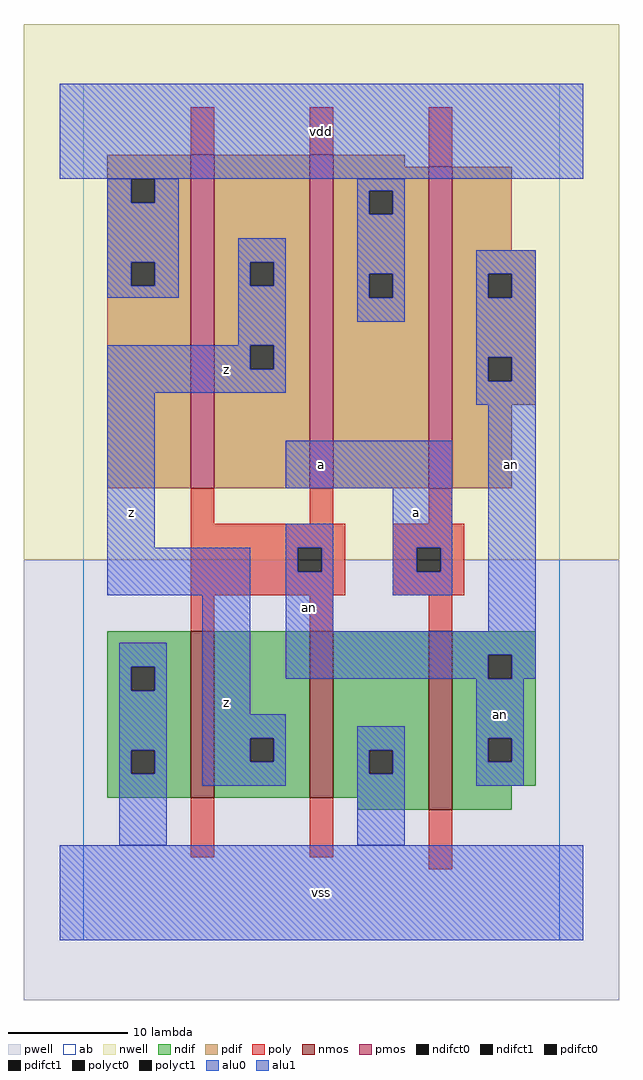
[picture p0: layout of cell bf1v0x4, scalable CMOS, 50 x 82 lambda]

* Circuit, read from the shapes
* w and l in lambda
.subckt bf1v0x4 a an vdd vss z
M1 z an vss VSUBS nfet w=14 l=2 m=2
M2 an a vss VSUBS nfet w=15 l=2
M3 z an vdd n1 pfet w=28 l=2 m=2
M4 an a vdd n1 pfet w=27 l=2
.ends

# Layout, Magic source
magic
tech scmos
<< ab >>
rect 0 0 40 72
<< nwell >>
rect -5 32 45 77
<< pwell >>
rect -5 -5 45 32
<< poly >>
rect 9 66 11 70
rect 19 66 21 70
rect 29 65 31 70
rect 9 35 11 38
rect 19 35 21 38
rect 29 35 31 38
rect 9 33 22 35
rect 9 31 18 33
rect 20 31 22 33
rect 9 29 22 31
rect 26 33 32 35
rect 26 31 28 33
rect 30 31 32 33
rect 26 29 32 31
rect 9 26 11 29
rect 19 26 21 29
rect 29 26 31 29
rect 9 7 11 12
rect 19 7 21 12
rect 29 6 31 11
<< ndif >>
rect 2 23 9 26
rect 2 21 4 23
rect 6 21 9 23
rect 2 16 9 21
rect 2 14 4 16
rect 6 14 9 16
rect 2 12 9 14
rect 11 17 19 26
rect 11 15 14 17
rect 16 15 19 17
rect 11 12 19 15
rect 21 16 29 26
rect 21 14 24 16
rect 26 14 29 16
rect 21 12 29 14
rect 23 11 29 12
rect 31 24 38 26
rect 31 22 34 24
rect 36 22 38 24
rect 31 17 38 22
rect 31 15 34 17
rect 36 15 38 17
rect 31 13 38 15
rect 31 11 36 13
<< pdif >>
rect 2 64 9 66
rect 2 62 4 64
rect 6 62 9 64
rect 2 57 9 62
rect 2 55 4 57
rect 6 55 9 57
rect 2 38 9 55
rect 11 57 19 66
rect 11 55 14 57
rect 16 55 19 57
rect 11 50 19 55
rect 11 48 14 50
rect 16 48 19 50
rect 11 38 19 48
rect 21 65 27 66
rect 21 63 29 65
rect 21 61 24 63
rect 26 61 29 63
rect 21 56 29 61
rect 21 54 24 56
rect 26 54 29 56
rect 21 38 29 54
rect 31 58 36 65
rect 31 56 38 58
rect 31 54 34 56
rect 36 54 38 56
rect 31 49 38 54
rect 31 47 34 49
rect 36 47 38 49
rect 31 45 38 47
rect 31 38 36 45
<< alu1 >>
rect -2 64 42 72
rect 13 57 17 59
rect 13 55 14 57
rect 16 55 17 57
rect 13 50 17 55
rect 2 48 14 50
rect 16 48 17 50
rect 2 46 17 48
rect 2 33 6 46
rect 17 38 31 42
rect 2 29 14 33
rect 10 19 14 29
rect 26 33 31 38
rect 26 31 28 33
rect 30 31 31 33
rect 26 29 31 31
rect 10 17 17 19
rect 10 15 14 17
rect 16 15 17 17
rect 10 13 17 15
rect -2 0 42 8
<< nmos >>
rect 9 12 11 26
rect 19 12 21 26
rect 29 11 31 26
<< pmos >>
rect 9 38 11 66
rect 19 38 21 66
rect 29 38 31 65
<< polyct0 >>
rect 18 31 20 33
<< polyct1 >>
rect 28 31 30 33
<< ndifct0 >>
rect 4 21 6 23
rect 4 14 6 16
rect 24 14 26 16
rect 34 22 36 24
rect 34 15 36 17
<< ndifct1 >>
rect 14 15 16 17
<< pdifct0 >>
rect 4 62 6 64
rect 4 55 6 57
rect 24 61 26 63
rect 24 54 26 56
rect 34 54 36 56
rect 34 47 36 49
<< pdifct1 >>
rect 14 55 16 57
rect 14 48 16 50
<< alu0 >>
rect 2 62 4 64
rect 6 62 8 64
rect 2 57 8 62
rect 23 63 27 64
rect 23 61 24 63
rect 26 61 27 63
rect 2 55 4 57
rect 6 55 8 57
rect 2 54 8 55
rect 23 56 27 61
rect 23 54 24 56
rect 26 54 27 56
rect 23 52 27 54
rect 33 56 38 58
rect 33 54 34 56
rect 36 54 38 56
rect 33 49 38 54
rect 33 47 34 49
rect 36 47 38 49
rect 33 45 38 47
rect 17 33 21 35
rect 3 23 7 25
rect 3 21 4 23
rect 6 21 7 23
rect 3 16 7 21
rect 3 14 4 16
rect 6 14 7 16
rect 3 8 7 14
rect 17 31 18 33
rect 20 31 21 33
rect 17 26 21 31
rect 34 26 38 45
rect 17 24 38 26
rect 17 22 34 24
rect 36 22 38 24
rect 23 16 27 18
rect 23 14 24 16
rect 26 14 27 16
rect 23 8 27 14
rect 33 17 37 22
rect 33 15 34 17
rect 36 15 37 17
rect 33 13 37 15
<< labels >>
rlabel alu0 19 28 19 28 6 an
rlabel alu0 35 19 35 19 6 an
rlabel alu0 36 40 36 40 6 an
rlabel alu1 4 36 4 36 6 z
rlabel alu1 12 20 12 20 6 z
rlabel alu1 12 48 12 48 6 z
rlabel alu1 20 4 20 4 6 vss
rlabel alu1 28 36 28 36 6 a
rlabel alu1 20 40 20 40 6 a
rlabel alu1 20 68 20 68 6 vdd
<< end >>
